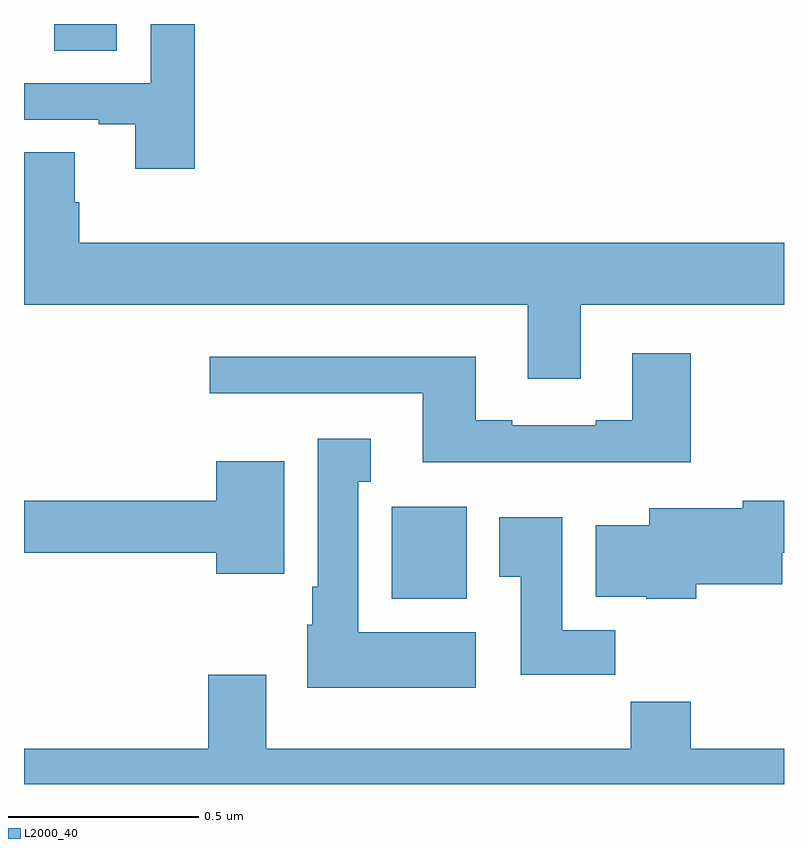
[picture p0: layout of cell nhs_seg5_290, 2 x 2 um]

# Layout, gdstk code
import gdstk
lib = gdstk.Library(unit=1e-6, precision=1e-09)
def R(c, l, rs):  # rectangles x0, y0, x1, y1
    for r in rs: c.add(gdstk.rectangle(r[:2], r[2:], *l))
def P(c, l, *ps):  # polygons
    for p in ps: c.add(gdstk.Polygon(p, *l))
L2000_40 = (2000, 40)

nhs_seg5_290 = lib.new_cell('nhs_seg5_290')
R(nhs_seg5_290, L2000_40, [(114.968,889.286,115.165,889.528), (114.08,890.728,114.244,890.799)])
P(nhs_seg5_290, L2000_40, [(114.449,890.799),(114.333,890.799),(114.333,890.643),(114,890.643),(114,890.547),(114.197,890.547),(114.197,890.535),(114.293,890.535),(114.293,890.418),(114.449,890.418)],
  [(115.465,890.06),(116,890.06),(116,890.224),(114.146,890.224),(114.146,890.33),(114.133,890.33),(114.133,890.462),(114,890.462),(114,890.06),(115.325,890.06),(115.325,889.866),(115.465,889.866)],
  [(115.754,889.933),(115.601,889.933),(115.601,889.756),(115.505,889.756),(115.505,889.743),(115.285,889.743),(115.285,889.756),(115.189,889.756),(115.189,889.924),(114.489,889.924),(114.489,889.827),(115.049,889.827),(115.049,889.646),(115.754,889.646)],
  [(115.189,889.198),(114.88,889.198),(114.88,889.595),(114.913,889.595),(114.913,889.708),(114.773,889.708),(114.773,889.318),(114.758,889.318),(114.758,889.218),(114.746,889.218),(114.746,889.052),(115.189,889.052)],
  [(114.685,889.648),(114.506,889.648),(114.506,889.544),(114,889.544),(114,889.408),(114.506,889.408),(114.506,889.352),(114.685,889.352)],
  [(115.769,889.325),(115.996,889.325),(115.996,889.408),(116,889.408),(116,889.544),(115.892,889.544),(115.892,889.525),(115.646,889.525),(115.646,889.48),(115.505,889.48),(115.505,889.292),(115.638,889.292),(115.638,889.286),(115.769,889.286)],
  [(115.556,889.204),(115.417,889.204),(115.417,889.501),(115.25,889.501),(115.25,889.345),(115.307,889.345),(115.307,889.086),(115.556,889.086)],
  [(116,888.892),(115.754,888.892),(115.754,889.016),(115.597,889.016),(115.597,888.892),(114.637,888.892),(114.637,889.087),(114.485,889.087),(114.485,888.892),(114,888.892),(114,888.799),(116,888.799)])

lib.write_gds('nhs_seg5_290.gds')
